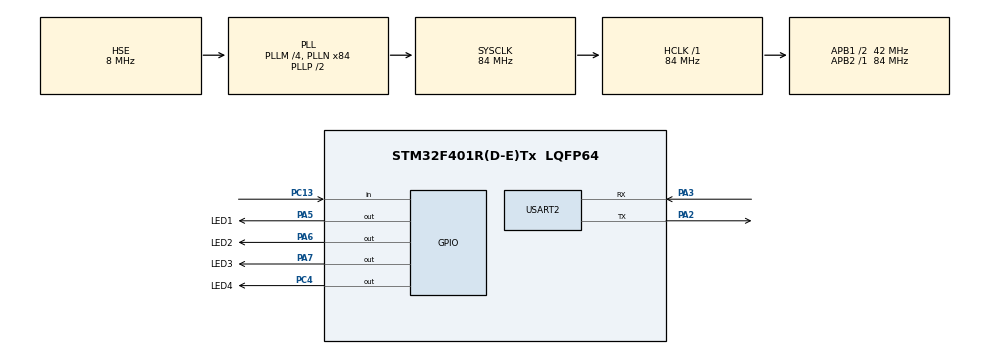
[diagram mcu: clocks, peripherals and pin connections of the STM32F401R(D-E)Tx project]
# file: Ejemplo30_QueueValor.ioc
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Mcu.Family=STM32F4
Mcu.Name=STM32F401R(D-E)Tx
Mcu.Package=LQFP64
NVIC.PriorityGroup=NVIC_PRIORITYGROUP_4
NVIC.TIM1_TRG_COM_TIM11_IRQn=true\:15\:0\:false\:false\:true\:false\:true\:true
NVIC.TimeBase=TIM1_TRG_COM_TIM11_IRQn
NVIC.TimeBaseIP=TIM11
NVIC.USART2_IRQn=true\:0\:0\:false\:false\:true\:true\:true\:true
PA2.Mode=Asynchronous
PA2.Signal=USART2_TX
PA3.Mode=Asynchronous
PA3.Signal=USART2_RX
PA5.GPIO_Label=LED1
PA5.Signal=GPIO_Output
PA6.GPIO_Label=LED2
PA6.Signal=GPIO_Output
PA7.GPIO_Label=LED3
PA7.Signal=GPIO_Output
PC13-ANTI_TAMP.Signal=GPIO_Input
PC4.GPIO_Label=LED4
PC4.Signal=GPIO_Output
PH0\ -\ OSC_IN.Mode=HSE-External-Clock-Source
PH0\ -\ OSC_IN.Signal=RCC_OSC_IN
PH1\ -\ OSC_OUT.Mode=HSE-External-Clock-Source
PH1\ -\ OSC_OUT.Signal=RCC_OSC_OUT
ProjectManager.HeapSize=0x200
ProjectManager.StackSize=0x400
ProjectManager.TargetToolchain=STM32CubeIDE
RCC.48MHZClocksFreq_Value=42000000
RCC.AHBFreq_Value=84000000
RCC.APB1CLKDivider=RCC_HCLK_DIV2
RCC.APB1Freq_Value=42000000
RCC.APB1TimFreq_Value=84000000
RCC.APB2Freq_Value=84000000
RCC.APB2TimFreq_Value=84000000
RCC.CortexFreq_Value=84000000
RCC.HCLKFreq_Value=84000000
RCC.HSE_VALUE=8000000
RCC.HSI_VALUE=16000000
RCC.LSE_VALUE=32768
RCC.PLLM=4
RCC.PLLN=84
RCC.PLLSourceVirtual=RCC_PLLSOURCE_HSE
RCC.SYSCLKFreq_VALUE=84000000
RCC.SYSCLKSource=RCC_SYSCLKSOURCE_PLLCLK
RCC.VCOOutputFreq_Value=168000000
USART2.VirtualMode=VM_ASYNC
VP_SYS_VS_tim11.Mode=TIM11
board=custom

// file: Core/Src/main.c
/* USER CODE BEGIN Header */
/**
  ******************************************************************************
  * @file           : main.c
  * @brief          : Main program body
  ******************************************************************************
  * @attention
  *
  * Copyright (c) 2022 STMicroelectronics.
  * All rights reserved.
  *
  * This software is licensed under terms that can be found in the LICENSE file
  * in the root directory of this software component.
  * If no LICENSE file comes with this software, it is provided AS-IS.
  *
  ******************************************************************************
  */
/* USER CODE END Header */
#include "main.h"
#include "usart.h"
#include "gpio.h"

/* USER CODE BEGIN Includes */
#include "FreeRTOS.h"
#include "task.h"
#include "queue.h"

#include <stdio.h>
#include <stdarg.h>
#include <string.h>
/* USER CODE END Includes */

/* USER CODE BEGIN PTD */

typedef struct{
	uint8_t ID;
	uint8_t Led1:1;
	uint8_t Led2:1;
	uint8_t Led3:1;
	uint8_t Led4:1;
	uint8_t msTime;
}LedsValor;

/* USER CODE END PTD */

/* USER CODE BEGIN PM */
/**
 * 0 : no se desea usar segger system view
 * 1 : se usa para la depuracion
 */
#define SYSTEM_VIEW				1
/* USER CODE END PM */

void SystemClock_Config(void);
/* USER CODE BEGIN PFP */

void UART_Printf(char *format,...);
/* USER CODE END PFP */

/* USER CODE BEGIN 0 */

xTaskHandle xTask1;//ENVIA INFORMACION
xTaskHandle xTask2;//ENVIA INFORMACIIN
xTaskHandle xTask3;//PROCESA LA INFORMACION

xQueueHandle xQueue;

void vTask1(void *params);
void vTask2(void *params);
void vTask3(void *params);
/* USER CODE END 0 */

int main(void)
{
  /* USER CODE BEGIN 1 */
	BaseType_t status=0;
  /* USER CODE END 1 */

  /* MCU Configuration--------------------------------------------------------*/

  /* Reset of all peripherals, Initializes the Flash interface and the Systick. */
  HAL_Init();

  /* Configure the system clock */
  SystemClock_Config();

  /* Initialize all configured peripherals */
  MX_GPIO_Init();
  MX_USART2_UART_Init();
  /* USER CODE BEGIN 2 */
#if SYSTEM_VIEW
  DWT->CTRL |= 1;
  SEGGER_SYSVIEW_Conf();
  /*solo se va usar cuando se trabaje en modo one shot*/
//  SEGGER_SYSVIEW_Start();

#endif

  status= xTaskCreate(vTask1, "tarea1", configMINIMAL_STACK_SIZE, NULL, 0, xTask1);
  configASSERT(status == pdPASS);
  status= xTaskCreate(vTask2, "tarea2", configMINIMAL_STACK_SIZE, NULL, 0, xTask2);
    configASSERT(status == pdPASS);
    status= xTaskCreate(vTask3, "tarea3", configMINIMAL_STACK_SIZE, NULL, 0, xTask3);
       configASSERT(status == pdPASS);

    xQueue = xQueueCreate(12,sizeof(LedsValor));
    configASSERT(xQueue != NULL);
  /* inicializa el kernel*/
  vTaskStartScheduler();
  /* USER CODE END 2 */

  /* Infinite loop */
  while (1)
  {

  }
}

void SystemClock_Config(void)
{
  RCC_OscInitTypeDef RCC_OscInitStruct = {0};
  RCC_ClkInitTypeDef RCC_ClkInitStruct = {0};

  /** Configure the main internal regulator output voltage
  */
  __HAL_RCC_PWR_CLK_ENABLE();
  __HAL_PWR_VOLTAGESCALING_CONFIG(PWR_REGULATOR_VOLTAGE_SCALE2);

  /** Initializes the RCC Oscillators according to the specified parameters
  * in the RCC_OscInitTypeDef structure.
  */
  RCC_OscInitStruct.OscillatorType = RCC_OSCILLATORTYPE_HSE;
  RCC_OscInitStruct.HSEState = RCC_HSE_BYPASS;
  RCC_OscInitStruct.PLL.PLLState = RCC_PLL_ON;
  RCC_OscInitStruct.PLL.PLLSource = RCC_PLLSOURCE_HSE;
  RCC_OscInitStruct.PLL.PLLM = 4;
  RCC_OscInitStruct.PLL.PLLN = 84;
  RCC_OscInitStruct.PLL.PLLP = RCC_PLLP_DIV2;
  RCC_OscInitStruct.PLL.PLLQ = 4;
  if (HAL_RCC_OscConfig(&RCC_OscInitStruct) != HAL_OK)
  {
    Error_Handler();
  }

  /** Initializes the CPU, AHB and APB buses clocks
  */
  RCC_ClkInitStruct.ClockType = RCC_CLOCKTYPE_HCLK|RCC_CLOCKTYPE_SYSCLK
                              |RCC_CLOCKTYPE_PCLK1|RCC_CLOCKTYPE_PCLK2;
  RCC_ClkInitStruct.SYSCLKSource = RCC_SYSCLKSOURCE_PLLCLK;
  RCC_ClkInitStruct.AHBCLKDivider = RCC_SYSCLK_DIV1;
  RCC_ClkInitStruct.APB1CLKDivider = RCC_HCLK_DIV2;
  RCC_ClkInitStruct.APB2CLKDivider = RCC_HCLK_DIV1;

  if (HAL_RCC_ClockConfig(&RCC_ClkInitStruct, FLASH_LATENCY_2) != HAL_OK)
  {
    Error_Handler();
  }
}

/* USER CODE BEGIN 4 */

void vTask1(void *params){
LedsValor ledtarea1;
ledtarea1.ID = 1;
ledtarea1.Led1 = 0;
ledtarea1.Led2 = 0;
ledtarea1.Led3 = 1;
ledtarea1.Led4 = 1;
ledtarea1.msTime = 100;
	for (;;) {

		if (xQueueSend(xQueue,(void *)&ledtarea1,portMAX_DELAY)) {
			SEGGER_SYSVIEW_PrintfHost("Dato Enviado desde Task1");
		}
		vTaskDelay(pdMS_TO_TICKS(100));

	}
vTaskDelete(NULL);
}

void vTask2(void *params){

	LedsValor ledtarea2;
	ledtarea2.ID = 2;
	ledtarea2.Led1 = 1;
	ledtarea2.Led2 = 1;
	ledtarea2.Led3 = 0;
	ledtarea2.Led4 = 0;
	ledtarea2.msTime = 200;
		for (;;) {

			if (xQueueSend(xQueue,(void *)&ledtarea2,portMAX_DELAY)) {
				SEGGER_SYSVIEW_PrintfHost("Dato Enviado desde Task2");
			}
			vTaskDelay(pdMS_TO_TICKS(100));

		}
vTaskDelete(NULL);

}

void vTask3(void *params){

	LedsValor datos;

	for(;;){
		if (xQueueReceive(xQueue, &datos, portMAX_DELAY)) {
						SEGGER_SYSVIEW_PrintfHost("Dato recivido desde %d",datos.ID);

					switch (datos.ID) {
						case 1:
						HAL_GPIO_WritePin(LED1_GPIO_Port, LED1_Pin, datos.Led1);
						HAL_GPIO_WritePin(LED2_GPIO_Port, LED2_Pin, datos.Led2);
						HAL_GPIO_WritePin(LED3_GPIO_Port, LED3_Pin, datos.Led3);
						HAL_GPIO_WritePin(LED4_GPIO_Port, LED4_Pin, datos.Led4);
						vTaskDelay(pdMS_TO_TICKS(datos.msTime));
							break;
						case 2:
						HAL_GPIO_WritePin(LED1_GPIO_Port, LED1_Pin, datos.Led1);
						HAL_GPIO_WritePin(LED2_GPIO_Port, LED2_Pin, datos.Led2);
						HAL_GPIO_WritePin(LED3_GPIO_Port, LED3_Pin, datos.Led3);
						HAL_GPIO_WritePin(LED4_GPIO_Port, LED4_Pin, datos.Led4);
						vTaskDelay(pdMS_TO_TICKS(datos.msTime));
							break;
						default:
							break;
					}

					}

}
vTaskDelete(NULL);
}

void UART_Printf(char *format,...){
    char str[80];

    /*Extract the the argument list using VA apis */
    va_list args;
    va_start(args, format);
    vsprintf(str, format,args);
    HAL_UART_Transmit(&huart2, (uint8_t*)str, strlen(str), 10);
    va_end(args);
}
/* USER CODE END 4 */

void HAL_TIM_PeriodElapsedCallback(TIM_HandleTypeDef *htim)
{
  if (htim->Instance == TIM11) {
    HAL_IncTick();
  }
}

void Error_Handler(void)
{
  __disable_irq();
  while (1)
  {
  }
}
